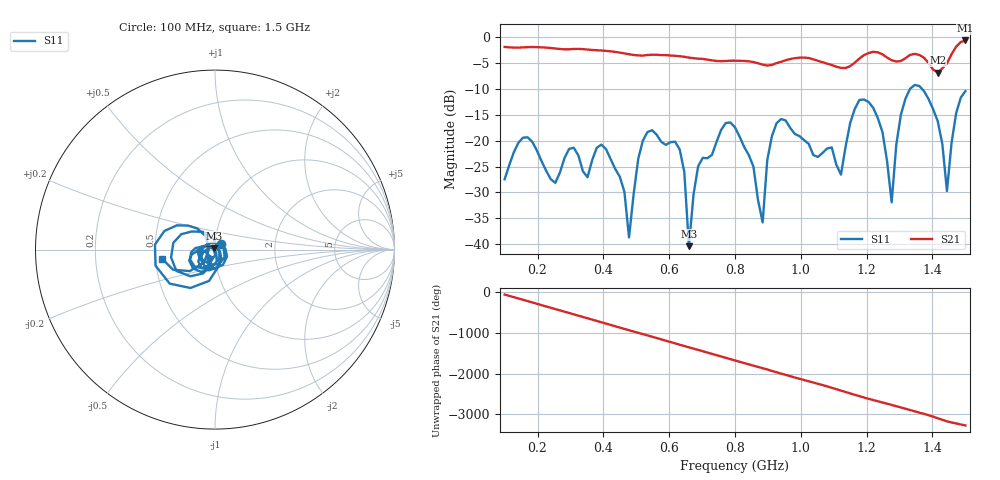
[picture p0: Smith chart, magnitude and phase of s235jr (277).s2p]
! NanoVNA-App
! Date: 2025-09-25 15:06:19
! Start: 100MHz Stop: 1,5GHz Points: 101
! S-Parameter data: F S11 S21 S12 S22
# Hz S RI R 50
!  Frequency  S11_Real  S11_Imag  S21_Real  S21_Imag  S12_Real  S12_Imag  S22_Real  S22_Imag
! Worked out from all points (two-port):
!   101 points, 100 MHz to 1.5 GHz, reference 50 ohm
!   highest |S21| = -0.71 dB at 1.5 GHz (marker M1); lowest = -6.9 dB at 1.416 GHz (marker M2)
!   |S21| within 3 dB of the highest: start of sweep to 626 MHz; 1.188 GHz to 1.255 GHz (67.22 MHz wide, 5.5 % of centre) (the widest 2 of 4)
!   lowest |S11| = -40.3 dB at 660 MHz (marker M3), VSWR 1.02, Z = 49.3 + j0.608 ohm
!   |S11| at or under -10 dB: start of sweep to 1.332 GHz; 1.368 GHz to end of sweep
!   S12 and S22 are empty: the file has one direction only
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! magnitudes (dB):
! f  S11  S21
! 100 MHz  -27.5  -2.0
! 156 MHz  -19.4  -2.1
! 338 MHz  -25.9  -2.4
! 408 MHz  -21.6  -2.7
! 478 MHz  -38.7  -3.4
! 520 MHz  -20.0  -3.6
! 576 MHz  -20.3  -3.5
! 632 MHz  -21.7  -3.7
! 660 MHz  -40.3  -4.0
! 688 MHz  -25.0  -4.2
! 800 MHz  -17.5  -4.6
! 884 MHz  -35.8  -5.4
! 926 MHz  -16.7  -5.1
! 1.038 GHz  -22.8  -4.4
! 1.122 GHz  -26.6  -6.0
! 1.206 GHz  -12.6  -3.1
! 1.276 GHz  -31.9  -4.5
! 1.304 GHz  -15.0  -4.7
! 1.332 GHz  -10.0  -3.5
! 1.416 GHz  -16.3  -6.9
! 1.444 GHz  -29.7  -5.1
! 1.5 GHz  -10.5  -0.7
